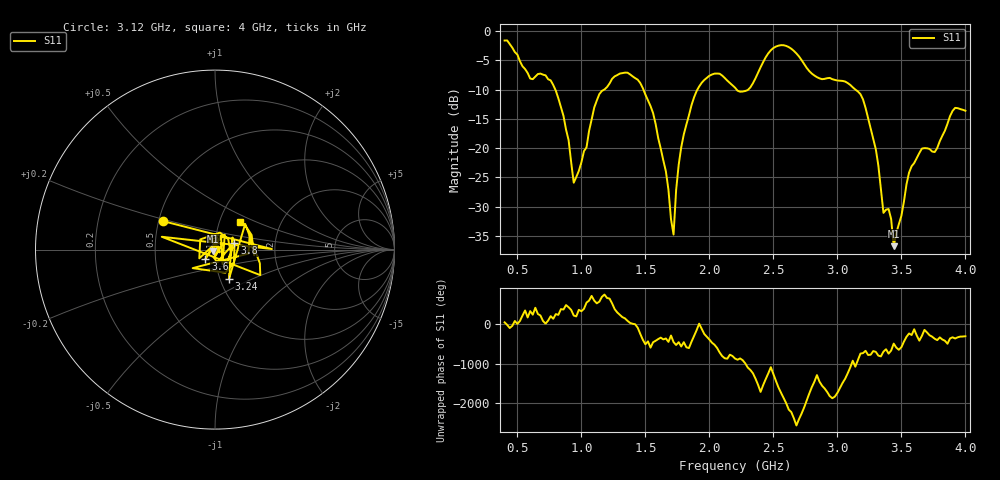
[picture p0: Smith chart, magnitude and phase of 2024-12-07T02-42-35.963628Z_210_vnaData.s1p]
!Created with skrf (http://scikit-rf.org).
# Hz S RI R 50.0
!freq ReS11 ImS11
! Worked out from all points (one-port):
!   181 points, 400 MHz to 4 GHz, reference 50 ohm
!   lowest |S11| = -36.7 dB at 3.44 GHz (marker M1), VSWR 1.03, Z = 48.9 - j0.957 ohm
!   |S11| at or under -10 dB: 796.3 MHz to 1.178 GHz (381.6 MHz wide, 38.7 % of centre); 1.485 GHz to 1.906 GHz (421.6 MHz wide, 24.9 % of centre); 3.141 GHz to end of sweep (the widest 3 of 4)
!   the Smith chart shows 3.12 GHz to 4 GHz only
!   S11 on the Smith chart (normalised r, x): 3.12 GHz: 0.53, +0.19; 3.24 GHz: 1.11, -0.37; 3.6 GHz: 0.89, -0.09; 3.8 GHz: 1.24, +0.10; 4 GHz: 1.25, +0.41
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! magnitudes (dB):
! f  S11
! 400 MHz  -1.6
! 600 MHz  -8.1
! 760 MHz  -8.4
! 860 MHz  -14.5
! 940 MHz  -25.9
! 1.14 GHz  -10.8
! 1.3 GHz  -7.3
! 1.44 GHz  -8.3
! 1.56 GHz  -14.0
! 1.66 GHz  -24.0
! 1.72 GHz  -34.8
! 1.76 GHz  -22.9
! 1.94 GHz  -8.8
! 2.2 GHz  -9.7
! 2.3 GHz  -10.1
! 2.5 GHz  -2.9
! 2.66 GHz  -3.4
! 3.1 GHz  -9.2
! 3.12 GHz  -9.6
! 3.24 GHz  -14.9
! 3.3 GHz  -20.2
! 3.36 GHz  -31.1
! 3.4 GHz  -30.4
! 3.44 GHz  -36.7
! 3.56 GHz  -24.2
! 3.6 GHz  -22.5
! 3.8 GHz  -18.8
! 4 GHz  -13.6
